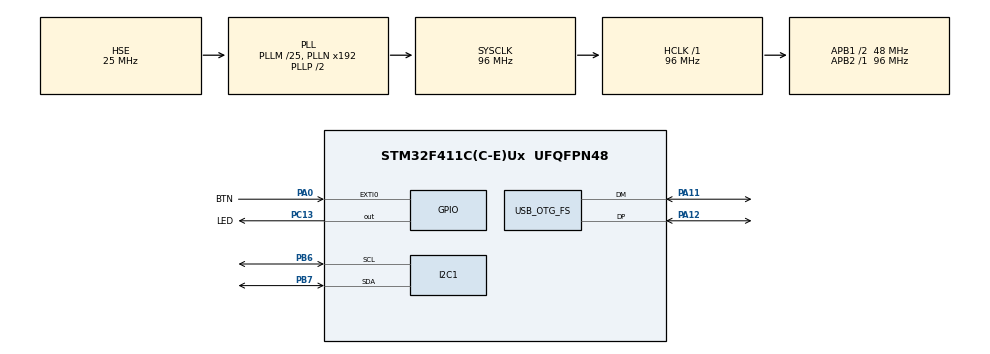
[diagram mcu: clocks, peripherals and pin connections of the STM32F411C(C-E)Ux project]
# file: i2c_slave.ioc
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I2C1.AddressingMode=I2C_ADDRESSINGMODE_7BIT
I2C1.I2C_Mode=I2C_Fast
I2C1.OwnAddress=I2C_SLAVE_ADDR
Mcu.Family=STM32F4
Mcu.Name=STM32F411C(C-E)Ux
Mcu.Package=UFQFPN48
Mcu.UserConstants=I2C_SLAVE_ADDR,0x20
NVIC.I2C1_ER_IRQn=true\:0\:0\:false\:false\:true\:true\:true
NVIC.I2C1_EV_IRQn=true\:0\:0\:false\:false\:true\:true\:true
NVIC.OTG_FS_IRQn=true\:0\:0\:false\:false\:true\:false\:true
NVIC.PriorityGroup=NVIC_PRIORITYGROUP_4
PA0-WKUP.GPIO_Label=BTN
PA0-WKUP.GPIO_ModeDefaultEXTI=GPIO_MODE_IT_FALLING
PA0-WKUP.GPIO_PuPd=GPIO_PULLUP
PA0-WKUP.Signal=GPXTI0
PA11.Mode=Device_Only
PA11.Signal=USB_OTG_FS_DM
PA12.Mode=Device_Only
PA12.Signal=USB_OTG_FS_DP
PA13.Mode=Serial_Wire
PA13.Signal=SYS_JTMS-SWDIO
PA14.Mode=Serial_Wire
PA14.Signal=SYS_JTCK-SWCLK
PB6.GPIO_Pu=GPIO_PULLUP
PB6.Mode=I2C
PB6.Signal=I2C1_SCL
PB7.GPIO_Pu=GPIO_PULLUP
PB7.Mode=I2C
PB7.Signal=I2C1_SDA
PC13-ANTI_TAMP.GPIO_Label=LED
PC13-ANTI_TAMP.GPIO_ModeDefaultOutputPP=GPIO_MODE_OUTPUT_OD
PC13-ANTI_TAMP.PinState=GPIO_PIN_SET
PC13-ANTI_TAMP.Signal=GPIO_Output
PH0\ -\ OSC_IN.Mode=HSE-External-Oscillator
PH0\ -\ OSC_IN.Signal=RCC_OSC_IN
PH1\ -\ OSC_OUT.Mode=HSE-External-Oscillator
PH1\ -\ OSC_OUT.Signal=RCC_OSC_OUT
ProjectManager.HeapSize=0x200
ProjectManager.StackSize=0x400
ProjectManager.TargetToolchain=STM32CubeIDE
RCC.48MHZClocksFreq_Value=48000000
RCC.AHBFreq_Value=96000000
RCC.APB1CLKDivider=RCC_HCLK_DIV2
RCC.APB1Freq_Value=48000000
RCC.APB1TimFreq_Value=96000000
RCC.APB2Freq_Value=96000000
RCC.APB2TimFreq_Value=96000000
RCC.CortexFreq_Value=96000000
RCC.HCLKFreq_Value=96000000
RCC.HSE_VALUE=25000000
RCC.HSI_VALUE=16000000
RCC.LSE_VALUE=32768
RCC.PLLM=25
RCC.SYSCLKFreq_VALUE=96000000
RCC.SYSCLKSource=RCC_SYSCLKSOURCE_PLLCLK
RCC.VCOOutputFreq_Value=192000000
USB_DEVICE.CLASS_NAME_FS=CDC
USB_DEVICE.MANUFACTURER_STRING=Lars Boegild Thomsen
USB_DEVICE.PRODUCT_STRING_CDC_FS=I2C Slave ComPort
USB_DEVICE.VirtualMode=Cdc
USB_DEVICE.VirtualModeFS=Cdc_FS
USB_OTG_FS.VirtualMode=Device_Only
VP_USB_DEVICE_VS_USB_DEVICE_CDC_FS.Mode=CDC_FS
board=custom

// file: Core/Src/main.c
/* USER CODE BEGIN Header */
/**
  ******************************************************************************
  * @file           : main.c
  * @brief          : Main program body
  ******************************************************************************
  * @attention
  *
  * <h2><center>&copy; Copyright (c) 2021 STMicroelectronics.
  * All rights reserved.</center></h2>
  *
  * This software component is licensed by ST under BSD 3-Clause license,
  * the "License"; You may not use this file except in compliance with the
  * License. You may obtain a copy of the License at:
  *                        opensource.org/licenses/BSD-3-Clause
  *
  ******************************************************************************
  */
/* USER CODE END Header */
#include "main.h"
#include "usb_device.h"

/* USER CODE BEGIN Includes */
#include "stdio.h"
#include "usbd_cdc_if.h"
/* USER CODE END Includes */

/* USER CODE BEGIN PD */
#define DFU_BOOT_FLAG 0xDEADBEEF
/* USER CODE END PD */

I2C_HandleTypeDef hi2c1;

/* USER CODE BEGIN PV */

extern int _estack;
uint32_t *dfu_boot_flag;
uint32_t push_count = 0;

uint8_t ram[256] = {0};
uint8_t offset = 0;
uint8_t first = 0;

/* USER CODE END PV */

void SystemClock_Config(void);
static void MX_GPIO_Init(void);
static void MX_I2C1_Init(void);

/* USER CODE BEGIN 0 */

// Redirect printf to USB serial
int _write(int file, char *ptr, int len) {
    uint8_t result = CDC_Transmit_FS((uint8_t*) ptr, len);
    if (result != HAL_OK) {
            return 0;
    }
    return len;
}

void HAL_GPIO_EXTI_Callback(uint16_t GPIO_Pin) {
	if (GPIO_Pin == BTN_Pin) // If the button
	{
		GPIO_PinState pinState = HAL_GPIO_ReadPin(BTN_GPIO_Port, BTN_Pin);
		if (pinState == GPIO_PIN_RESET) {
			push_count = HAL_GetTick();
		} else {
			if (HAL_GetTick() - push_count > 1000) {
				// Set the boot flag and reset the mcu.  The bootloader
				// will detect the flag and stay in dfu mode.
				*dfu_boot_flag = DFU_BOOT_FLAG;
				HAL_NVIC_SystemReset();
			}

			//scan_trigger = true;

			push_count = 0;
		}

	}
}

void HAL_I2C_SlaveTxCpltCallback(I2C_HandleTypeDef *hi2c) {
	DBG("STX");
	offset++;
	HAL_I2C_Slave_Seq_Transmit_IT(hi2c, &ram[offset], 1, I2C_NEXT_FRAME);
};

void HAL_I2C_SlaveRxCpltCallback(I2C_HandleTypeDef *hi2c) {
	DBG("SRX");
	if(first) {
		DBG("RXCB: offset <== %3d", offset );
		first = 0;
	} else {
		DBG("RXCB: ram[%3d] <== %3d", offset,  ram[offset] );
		offset++;
	}
	HAL_I2C_Slave_Seq_Receive_IT(hi2c, &ram[offset], 1, I2C_NEXT_FRAME);
};

void HAL_I2C_AddrCallback(I2C_HandleTypeDef *hi2c, uint8_t TransferDirection, uint16_t AddrMatchCode) {
	DBG("AD");
	if( TransferDirection==I2C_DIRECTION_TRANSMIT ) {
		if( first ) {
			HAL_I2C_Slave_Seq_Receive_IT(hi2c, &offset, 1, I2C_NEXT_FRAME);
		} else {
			HAL_I2C_Slave_Seq_Receive_IT(hi2c, &ram[offset], 1, I2C_NEXT_FRAME);
		}
	} else {
		HAL_I2C_Slave_Seq_Transmit_IT(hi2c, &ram[offset], 1, I2C_NEXT_FRAME);
	}
};

void HAL_I2C_ListenCpltCallback(I2C_HandleTypeDef *hi2c) {
	DBG("L");
	first = 1;
	HAL_I2C_EnableListen_IT(hi2c); // slave is ready again
};

void HAL_I2C_MemTxCpltCallback(I2C_HandleTypeDef *hi2c) {
	DBG("MTX");
};

void HAL_I2C_MemRxCpltCallback(I2C_HandleTypeDef *hi2c) {
	DBG("MRX");
};

void HAL_I2C_ErrorCallback(I2C_HandleTypeDef *hi2c) {
	DBG("E");
	if( HAL_I2C_GetError(hi2c)==HAL_I2C_ERROR_AF ) {
		// transaction terminated by master
		DBG("ECB end" );
		offset--;
	} else {
		DBG("ECB err=0x%02X", HAL_I2C_GetError(hi2c) );
	}
};

void HAL_I2C_AbortCpltCallback(I2C_HandleTypeDef *hi2c) {
	DBG("AB");
};

/* USER CODE END 0 */

int main(void)
{
  /* USER CODE BEGIN 1 */
	dfu_boot_flag = (uint32_t *)(&_estack - 100); // 100 bytes below top of stack
  /* USER CODE END 1 */

  /* MCU Configuration--------------------------------------------------------*/

  /* Reset of all peripherals, Initializes the Flash interface and the Systick. */
  HAL_Init();

  /* Configure the system clock */
  SystemClock_Config();

  /* Initialize all configured peripherals */
  MX_GPIO_Init();
  MX_I2C1_Init();
  MX_USB_DEVICE_Init();
  /* USER CODE BEGIN 2 */

  HAL_I2C_EnableListen_IT(&hi2c1);

  /* USER CODE END 2 */

  /* Infinite loop */
  /* USER CODE BEGIN WHILE */

  uint32_t now = 0, last_tick = 0, last_blink  = 0;

  while (1)
  {

	  now = HAL_GetTick();

	  if (now - last_blink >= 500) {
		  HAL_GPIO_TogglePin(LED_GPIO_Port, LED_Pin);

		  last_blink = now;
	  }

	  if (now - last_tick >= 1000) {
		  DBG("Slave tick %lu", now / 1000);

		  last_tick = now;
	  }

    /* USER CODE END WHILE */

  }
}

void SystemClock_Config(void)
{
  RCC_OscInitTypeDef RCC_OscInitStruct = {0};
  RCC_ClkInitTypeDef RCC_ClkInitStruct = {0};

  /** Configure the main internal regulator output voltage
  */
  __HAL_RCC_PWR_CLK_ENABLE();
  __HAL_PWR_VOLTAGESCALING_CONFIG(PWR_REGULATOR_VOLTAGE_SCALE1);
  /** Initializes the RCC Oscillators according to the specified parameters
  * in the RCC_OscInitTypeDef structure.
  */
  RCC_OscInitStruct.OscillatorType = RCC_OSCILLATORTYPE_HSE;
  RCC_OscInitStruct.HSEState = RCC_HSE_ON;
  RCC_OscInitStruct.PLL.PLLState = RCC_PLL_ON;
  RCC_OscInitStruct.PLL.PLLSource = RCC_PLLSOURCE_HSE;
  RCC_OscInitStruct.PLL.PLLM = 25;
  RCC_OscInitStruct.PLL.PLLN = 192;
  RCC_OscInitStruct.PLL.PLLP = RCC_PLLP_DIV2;
  RCC_OscInitStruct.PLL.PLLQ = 4;
  if (HAL_RCC_OscConfig(&RCC_OscInitStruct) != HAL_OK)
  {
    Error_Handler();
  }
  /** Initializes the CPU, AHB and APB buses clocks
  */
  RCC_ClkInitStruct.ClockType = RCC_CLOCKTYPE_HCLK|RCC_CLOCKTYPE_SYSCLK
                              |RCC_CLOCKTYPE_PCLK1|RCC_CLOCKTYPE_PCLK2;
  RCC_ClkInitStruct.SYSCLKSource = RCC_SYSCLKSOURCE_PLLCLK;
  RCC_ClkInitStruct.AHBCLKDivider = RCC_SYSCLK_DIV1;
  RCC_ClkInitStruct.APB1CLKDivider = RCC_HCLK_DIV2;
  RCC_ClkInitStruct.APB2CLKDivider = RCC_HCLK_DIV1;

  if (HAL_RCC_ClockConfig(&RCC_ClkInitStruct, FLASH_LATENCY_3) != HAL_OK)
  {
    Error_Handler();
  }
}

static void MX_I2C1_Init(void)
{

  hi2c1.Instance = I2C1;
  hi2c1.Init.ClockSpeed = 400000;
  hi2c1.Init.DutyCycle = I2C_DUTYCYCLE_2;
  hi2c1.Init.OwnAddress1 = 64;
  hi2c1.Init.AddressingMode = I2C_ADDRESSINGMODE_7BIT;
  hi2c1.Init.DualAddressMode = I2C_DUALADDRESS_DISABLE;
  hi2c1.Init.OwnAddress2 = 0;
  hi2c1.Init.GeneralCallMode = I2C_GENERALCALL_DISABLE;
  hi2c1.Init.NoStretchMode = I2C_NOSTRETCH_DISABLE;
  if (HAL_I2C_Init(&hi2c1) != HAL_OK)
  {
    Error_Handler();
  }

}

static void MX_GPIO_Init(void)
{
  GPIO_InitTypeDef GPIO_InitStruct = {0};

  /* GPIO Ports Clock Enable */
  __HAL_RCC_GPIOC_CLK_ENABLE();
  __HAL_RCC_GPIOH_CLK_ENABLE();
  __HAL_RCC_GPIOA_CLK_ENABLE();
  __HAL_RCC_GPIOB_CLK_ENABLE();

  /*Configure GPIO pin Output Level */
  HAL_GPIO_WritePin(LED_GPIO_Port, LED_Pin, GPIO_PIN_SET);

  /*Configure GPIO pin : LED_Pin */
  GPIO_InitStruct.Pin = LED_Pin;
  GPIO_InitStruct.Mode = GPIO_MODE_OUTPUT_OD;
  GPIO_InitStruct.Pull = GPIO_NOPULL;
  GPIO_InitStruct.Speed = GPIO_SPEED_FREQ_LOW;
  HAL_GPIO_Init(LED_GPIO_Port, &GPIO_InitStruct);

  /*Configure GPIO pin : BTN_Pin */
  GPIO_InitStruct.Pin = BTN_Pin;
  GPIO_InitStruct.Mode = GPIO_MODE_IT_FALLING;
  GPIO_InitStruct.Pull = GPIO_PULLUP;
  HAL_GPIO_Init(BTN_GPIO_Port, &GPIO_InitStruct);

}

void Error_Handler(void)
{
  __disable_irq();
  while (1)
  {
  }
}

/************************ (C) COPYRIGHT STMicroelectronics *****END OF FILE****/
